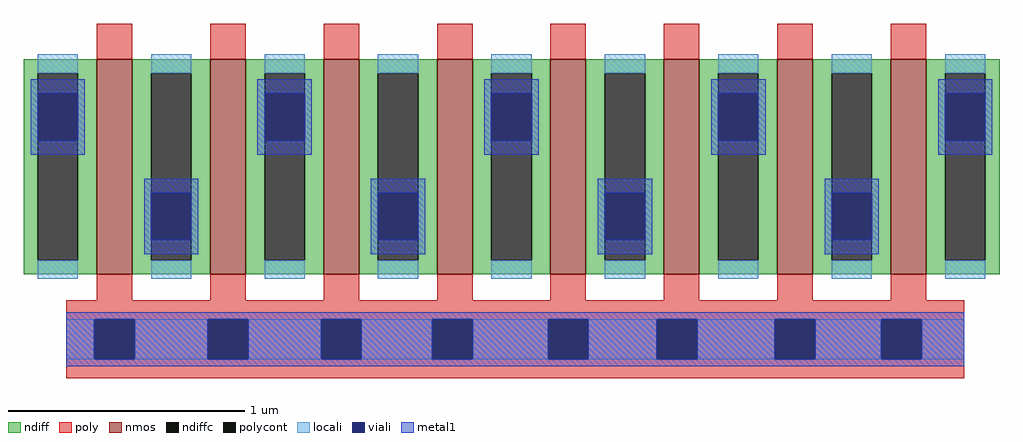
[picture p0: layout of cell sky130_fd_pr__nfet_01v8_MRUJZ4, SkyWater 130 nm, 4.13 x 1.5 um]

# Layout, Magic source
magic
tech sky130A
magscale 1 2
<< nmos >>
rect -351 -91 -321 91
rect -255 -91 -225 91
rect -159 -91 -129 91
rect -63 -91 -33 91
rect 33 -91 63 91
rect 129 -91 159 91
rect 225 -91 255 91
rect 321 -91 351 91
<< ndiff >>
rect -413 79 -351 91
rect -413 -79 -401 79
rect -367 -79 -351 79
rect -413 -91 -351 -79
rect -321 79 -255 91
rect -321 -79 -305 79
rect -271 -79 -255 79
rect -321 -91 -255 -79
rect -225 79 -159 91
rect -225 -79 -209 79
rect -175 -79 -159 79
rect -225 -91 -159 -79
rect -129 79 -63 91
rect -129 -79 -113 79
rect -79 -79 -63 79
rect -129 -91 -63 -79
rect -33 79 33 91
rect -33 -79 -17 79
rect 17 -79 33 79
rect -33 -91 33 -79
rect 63 79 129 91
rect 63 -79 79 79
rect 113 -79 129 79
rect 63 -91 129 -79
rect 159 79 225 91
rect 159 -79 175 79
rect 209 -79 225 79
rect 159 -91 225 -79
rect 255 79 321 91
rect 255 -79 271 79
rect 305 -79 321 79
rect 255 -91 321 -79
rect 351 79 413 91
rect 351 -79 367 79
rect 401 -79 413 79
rect 351 -91 413 -79
<< ndiffc >>
rect -401 -79 -367 79
rect -305 -79 -271 79
rect -209 -79 -175 79
rect -113 -79 -79 79
rect -17 -79 17 79
rect 79 -79 113 79
rect 175 -79 209 79
rect 271 -79 305 79
rect 367 -79 401 79
<< poly >>
rect -351 91 -321 121
rect -255 91 -225 121
rect -159 91 -129 121
rect -63 91 -33 121
rect 33 91 63 121
rect 129 91 159 121
rect 225 91 255 121
rect 321 91 351 121
rect -351 -113 -321 -91
rect -255 -113 -225 -91
rect -159 -113 -129 -91
rect -63 -113 -33 -91
rect 33 -113 63 -91
rect 129 -113 159 -91
rect 225 -113 255 -91
rect 321 -113 351 -91
rect -377 -129 383 -113
rect -377 -163 -353 -129
rect -319 -163 -257 -129
rect -223 -163 -161 -129
rect -127 -163 -67 -129
rect -33 -163 31 -129
rect 65 -163 123 -129
rect 157 -163 223 -129
rect 257 -163 313 -129
rect 347 -163 383 -129
rect -377 -179 383 -163
<< polycont >>
rect -353 -163 -319 -129
rect -257 -163 -223 -129
rect -161 -163 -127 -129
rect -67 -163 -33 -129
rect 31 -163 65 -129
rect 123 -163 157 -129
rect 223 -163 257 -129
rect 313 -163 347 -129
<< locali >>
rect -401 79 -367 95
rect -401 -95 -367 -79
rect -305 79 -271 95
rect -305 -95 -271 -79
rect -209 79 -175 95
rect -209 -95 -175 -79
rect -113 79 -79 95
rect -113 -95 -79 -79
rect -17 79 17 95
rect -17 -95 17 -79
rect 79 79 113 95
rect 79 -95 113 -79
rect 175 79 209 95
rect 175 -95 209 -79
rect 271 79 305 95
rect 271 -95 305 -79
rect 367 79 401 95
rect 367 -95 401 -79
rect -377 -163 -353 -129
rect -319 -163 -257 -129
rect -223 -163 -161 -129
rect -127 -163 -67 -129
rect -33 -163 31 -129
rect 65 -163 123 -129
rect 157 -163 223 -129
rect 257 -163 313 -129
rect 347 -163 383 -129
<< viali >>
rect -401 22 -367 62
rect -305 -62 -271 -22
rect -209 22 -175 62
rect -113 -62 -79 -22
rect -17 22 17 62
rect 79 -62 113 -22
rect 175 22 209 62
rect 271 -62 305 -22
rect 367 22 401 62
rect -353 -163 -319 -129
rect -257 -163 -223 -129
rect -161 -163 -127 -129
rect -67 -163 -33 -129
rect 31 -163 65 -129
rect 123 -163 157 -129
rect 223 -163 257 -129
rect 313 -163 347 -129
<< metal1 >>
rect -407 62 -361 74
rect -407 22 -401 62
rect -367 22 -361 62
rect -407 10 -361 22
rect -215 62 -169 74
rect -215 22 -209 62
rect -175 22 -169 62
rect -215 10 -169 22
rect -23 62 23 74
rect -23 22 -17 62
rect 17 22 23 62
rect -23 10 23 22
rect 169 62 215 74
rect 169 22 175 62
rect 209 22 215 62
rect 169 10 215 22
rect 361 62 407 74
rect 361 22 367 62
rect 401 22 407 62
rect 361 10 407 22
rect -311 -22 -265 -10
rect -311 -62 -305 -22
rect -271 -62 -265 -22
rect -311 -74 -265 -62
rect -119 -22 -73 -10
rect -119 -62 -113 -22
rect -79 -62 -73 -22
rect -119 -74 -73 -62
rect 73 -22 119 -10
rect 73 -62 79 -22
rect 113 -62 119 -22
rect 73 -74 119 -62
rect 265 -22 311 -10
rect 265 -62 271 -22
rect 305 -62 311 -22
rect 265 -74 311 -62
rect -377 -129 383 -123
rect -377 -163 -353 -129
rect -319 -163 -257 -129
rect -223 -163 -161 -129
rect -127 -163 -67 -129
rect -33 -163 31 -129
rect 65 -163 123 -129
rect 157 -163 223 -129
rect 257 -163 313 -129
rect 347 -163 383 -129
rect -377 -169 383 -163
<< properties >>
string gencell sky130_fd_pr__nfet_01v8
string library sky130
string parameters w 0.91 l 0.15 m 1 nf 8 diffcov 100 polycov 100 guard 0 glc 1 grc 1 gtc 1 gbc 1 tbcov 100 rlcov 100 topc 1 botc 1 poverlap 0 doverlap 1 lmin 0.15 wmin 0.42 compatible {sky130_fd_pr__nfet_01v8 sky130_fd_pr__nfet_01v8_lvt  sky130_fd_bs_flash__special_sonosfet_star  sky130_fd_pr__nfet_g5v0d10v5 sky130_fd_pr__nfet_05v0_nvt  sky130_fd_pr__nfet_03v3_nvt} full_metal 0 viasrc +25 viadrn -25 viagate 100 viagb 0 viagr 0 viagl 0 viagt 0
<< end >>
